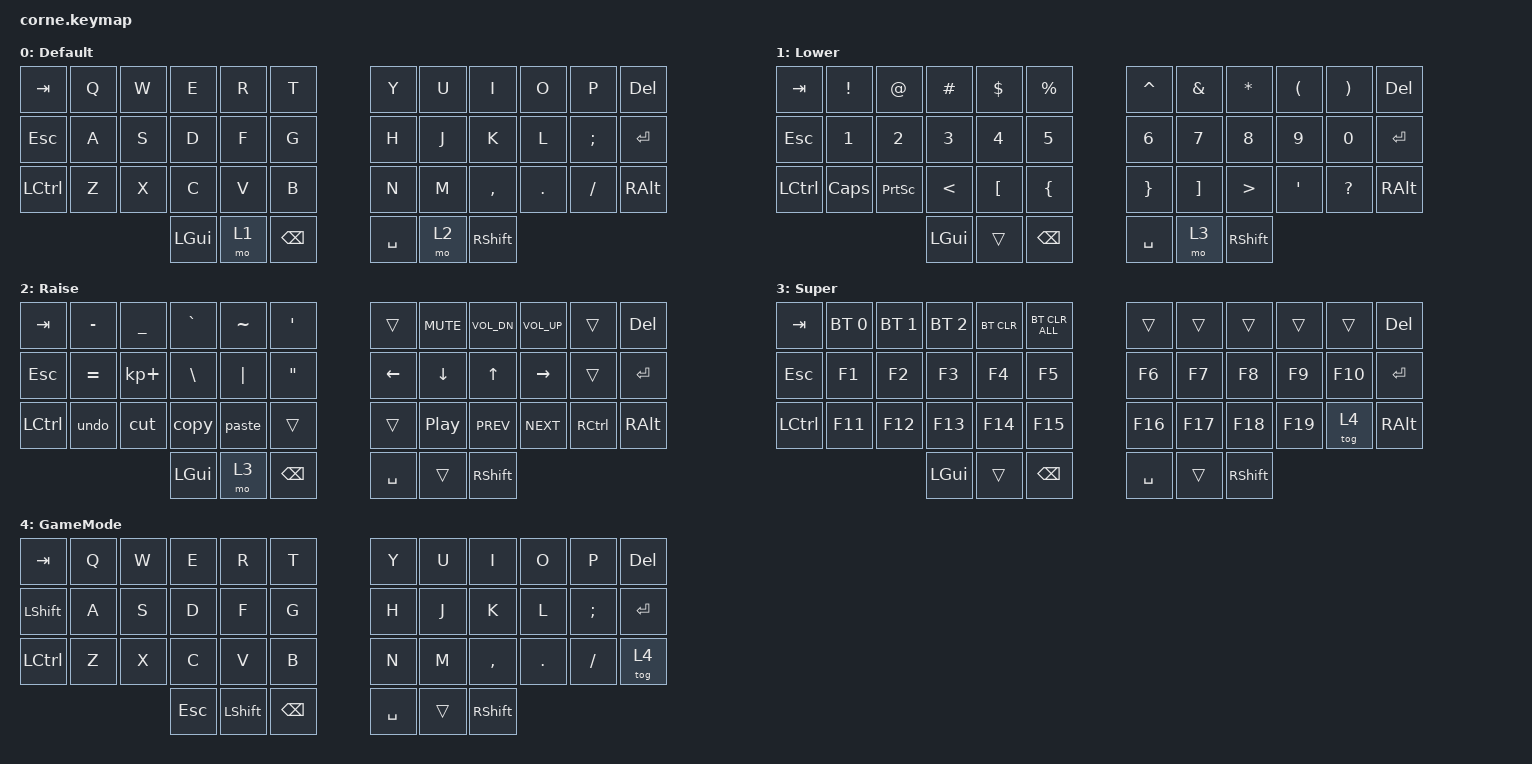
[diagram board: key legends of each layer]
/*
 * Copyright (c) 2020 The ZMK Contributors
 *
 * SPDX-License-Identifier: MIT
 */

#include <behaviors.dtsi>
#include <dt-bindings/zmk/bt.h>
#include <dt-bindings/zmk/keys.h>
#include <dt-bindings/zmk/keys.h>

/ {
    macros {
        copy: copy {
            compatible = "zmk,behavior-macro";
            #binding-cells = <0>;
            bindings = <&kt LEFT_CONTROL &kp C &kt LCTRL>;
            label = "COPY";
        };

        paste: paste {
            compatible = "zmk,behavior-macro";
            #binding-cells = <0>;
            bindings = <&kt LCTRL &kp V &kt LCTRL>;
            label = "PASTE";
        };

        undo: undo {
            compatible = "zmk,behavior-macro";
            #binding-cells = <0>;
            bindings = <&kt LCTRL &kp Z &kt LCTRL>;
            label = "UNDO";
        };

        cut: cut {
            compatible = "zmk,behavior-macro";
            #binding-cells = <0>;
            bindings = <&kt LCTRL &kp X &kp LCTRL>;
            label = "CUT";
        };
    };

    keymap {
        compatible = "zmk,keymap";

        Default {
            // -----------------------------------------------------------------------------------------
            // |  TAB |  Q  |  W  |  E  |  R  |  T  |   |  Y  |  U   |  I  |  O  |  P  | BKSP |
            // | CTRL |  A  |  S  |  D  |  F  |  G  |   |  H  |  J   |  K  |  L  |  ;  |  '   |
            // | SHFT |  Z  |  X  |  C  |  V  |  B  |   |  N  |  M   |  ,  |  .  |  /  | ESC  |
            //                    | GUI | LWR | SPC |   | ENT | RSE  | ALT |

            bindings = <
&kp TAB    &kp Q  &kp W  &kp E     &kp R  &kp T            &kp Y      &kp U  &kp I      &kp O    &kp P     &kp DELETE
&kp ESC    &kp A  &kp S  &kp D     &kp F  &kp G            &kp H      &kp J  &kp K      &kp L    &kp SEMI  &kp RET
&kp LCTRL  &kp Z  &kp X  &kp C     &kp V  &kp B            &kp N      &kp M  &kp COMMA  &kp DOT  &kp FSLH  &kp RIGHT_ALT
                         &kp LGUI  &mo 1  &kp BACKSPACE    &kp SPACE  &mo 2  &kp RSHFT
            >;
        };

        Lower {
            // -----------------------------------------------------------------------------------------
            // |  TAB |  1  |  2  |  3  |  4  |  5  |   |  6  |  7  |  8  |  9  |  0  | BKSP |
            // | BTCLR| BT1 | BT2 | BT3 | BT4 | BT5 |   | LFT | DWN |  UP | RGT |     |      |
            // | SHFT |     |     |     |     |     |   |     |     |     |     |     |      |
            //                    | GUI |     | SPC |   | ENT |     | ALT |

            bindings = <
&kp TAB     &kp EXCLAMATION  &kp AT_SIGN  &kp POUND      &kp DOLLAR        &kp PERCENT       &kp CARET        &kp AMPERSAND      &kp ASTERISK      &kp LEFT_PARENTHESIS  &kp RIGHT_PARENTHESIS  &kp DEL
&kp ESCAPE  &kp NUMBER_1     &kp N2       &kp N3         &kp N4            &kp N5            &kp N6           &kp N7             &kp N8            &kp N9                &kp N0                 &kp RET
&kp LCTRL   &kp CAPSLOCK     &kp PSCRN    &kp LESS_THAN  &kp LEFT_BRACKET  &kp LEFT_BRACE    &kp RIGHT_BRACE  &kp RIGHT_BRACKET  &kp GREATER_THAN  &kp SINGLE_QUOTE      &kp QUESTION           &kp RIGHT_ALT
                                          &kp LGUI       &trans            &kp BACKSPACE     &kp SPACE        &mo 3              &kp RIGHT_SHIFT
            >;
        };

        Raise {
            // -----------------------------------------------------------------------------------------
            // |  TAB |  !  |  @  |  #  |  $  |  %  |   |  ^  |  &  |  *  |  (  |  )  | BKSP |
            // | CTRL |     |     |     |     |     |   |  -  |  =  |  [  |  ]  |  \  |  `   |
            // | SHFT |     |     |     |     |     |   |  _  |  +  |  {  |  }  | "|" |  ~   |
            //                    | GUI |     | SPC |   | ENT |     | ALT |

            bindings = <
&kp TAB    &kp MINUS  &kp UNDERSCORE  &kp GRAVE  &kp TILDE  &kp APOS             &trans     &kp C_MUTE        &kp C_VOL_DN  &kp C_VOL_UP  &trans     &kp DEL
&kp ESC    &kp EQUAL  &kp KP_PLUS     &kp BSLH   &kp PIPE   &kp DOUBLE_QUOTES    &kp LEFT   &kp DOWN          &kp UP        &kp RIGHT     &trans     &kp RET
&kp LCTRL  &undo      &cut            &copy      &paste     &trans               &trans     &kp C_PLAY_PAUSE  &kp C_PREV    &kp C_NEXT    &kp RCTRL  &kp RIGHT_ALT
                                      &kp LGUI   &mo 3      &kp BACKSPACE        &kp SPACE  &trans            &kp RSHFT
            >;
        };

        Super {
            bindings = <
&kp TAB     &bt BT_SEL 0  &bt BT_SEL 1  &bt BT_SEL 2  &bt BT_CLR  &bt BT_CLR_ALL    &trans     &trans   &trans     &trans   &trans   &kp DELETE
&kp ESCAPE  &kp F1        &kp F2        &kp F3        &kp F4      &kp F5            &kp F6     &kp F7   &kp F8     &kp F9   &kp F10  &kp ENTER
&kp LCTRL   &kp F11       &kp F12       &kp F13       &kp F14     &kp F15           &kp F16    &kp F17  &kp F18    &kp F19  &tog 4   &kp RALT
                                        &kp LGUI      &trans      &kp BSPC          &kp SPACE  &trans   &kp RSHFT
            >;
        };

        GameMode {
            bindings = <
&kp TAB    &kp Q  &kp W  &kp E    &kp R      &kp T       &kp Y      &kp U   &kp I      &kp O    &kp P     &kp DEL
&kp LSHFT  &kp A  &kp S  &kp D    &kp F      &kp G       &kp H      &kp J   &kp K      &kp L    &kp SEMI  &kp RET
&kp LCTRL  &kp Z  &kp X  &kp C    &kp V      &kp B       &kp N      &kp M   &kp COMMA  &kp DOT  &kp FSLH  &tog 4
                         &kp ESC  &kp LSHFT  &kp BSPC    &kp SPACE  &trans  &kp RSHFT
            >;
        };
    };
};
